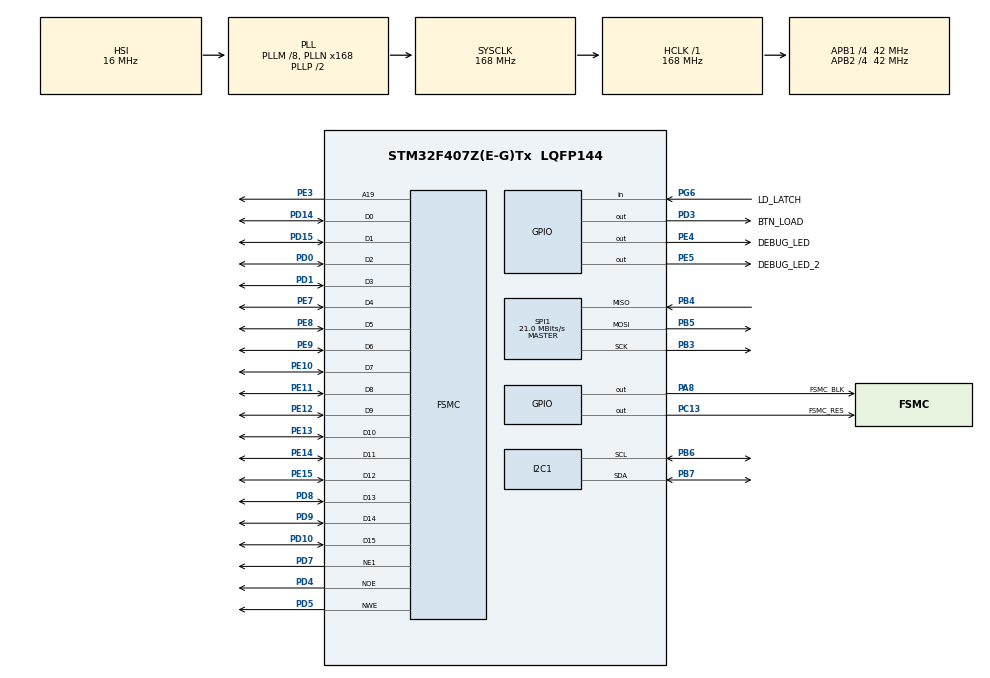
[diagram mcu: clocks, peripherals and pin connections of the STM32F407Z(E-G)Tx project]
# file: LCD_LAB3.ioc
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FSMC.AddressSetupTime1=0xf
FSMC.BusTurnAroundDuration1=0
FSMC.DataSetupTime1=60
FSMC.ExtendedAddressSetupTime1=8
FSMC.ExtendedBusTurnAroundDuration1=0
FSMC.ExtendedDataSetupTime1=9
FSMC.ExtendedMode1=FSMC_EXTENDED_MODE_ENABLE
Mcu.Family=STM32F4
Mcu.Name=STM32F407Z(E-G)Tx
Mcu.Package=LQFP144
NVIC.PriorityGroup=NVIC_PRIORITYGROUP_4
NVIC.TIM2_IRQn=true\:0\:0\:false\:false\:true\:true\:true
PA13.Mode=Serial_Wire
PA13.Signal=SYS_JTMS-SWDIO
PA14.Mode=Serial_Wire
PA14.Signal=SYS_JTCK-SWCLK
PA8.GPIO_Label=FSMC_BLK
PA8.Signal=GPIO_Output
PB3.Mode=Full_Duplex_Master
PB3.Signal=SPI1_SCK
PB4.Mode=Full_Duplex_Master
PB4.Signal=SPI1_MISO
PB5.Mode=Full_Duplex_Master
PB5.Signal=SPI1_MOSI
PB6.Mode=I2C
PB6.Signal=I2C1_SCL
PB7.Mode=I2C
PB7.Signal=I2C1_SDA
PC13-ANTI_TAMP.GPIO_Label=FSMC_RES
PC13-ANTI_TAMP.Signal=GPIO_Output
PD0.Signal=FSMC_D2_DA2
PD1.Signal=FSMC_D3_DA3
PD10.Signal=FSMC_D15_DA15
PD14.Signal=FSMC_D0_DA0
PD15.Signal=FSMC_D1_DA1
PD3.GPIO_Label=BTN_LOAD
PD3.Signal=GPIO_Output
PD4.Signal=FSMC_NOE
PD5.Signal=FSMC_NWE
PD7.Mode=NorPsramChipSelect1_1
PD7.Signal=FSMC_NE1
PD8.Signal=FSMC_D13_DA13
PD9.Signal=FSMC_D14_DA14
PE10.Signal=FSMC_D7_DA7
PE11.Signal=FSMC_D8_DA8
PE12.Signal=FSMC_D9_DA9
PE13.Signal=FSMC_D10_DA10
PE14.Signal=FSMC_D11_DA11
PE15.Signal=FSMC_D12_DA12
PE3.Signal=FSMC_A19
PE4.GPIO_Label=DEBUG_LED
PE4.Signal=GPIO_Output
PE5.GPIO_Label=DEBUG_LED_2
PE5.Signal=GPIO_Output
PE7.Signal=FSMC_D4_DA4
PE8.Signal=FSMC_D5_DA5
PE9.Signal=FSMC_D6_DA6
PG6.GPIO_Label=LD_LATCH
PG6.Signal=GPIO_Input
PH0-OSC_IN.Mode=HSE-External-Oscillator
PH0-OSC_IN.Signal=RCC_OSC_IN
PH1-OSC_OUT.Mode=HSE-External-Oscillator
PH1-OSC_OUT.Signal=RCC_OSC_OUT
ProjectManager.HeapSize=0x200
ProjectManager.StackSize=0x400
ProjectManager.TargetToolchain=STM32CubeIDE
RCC.48MHZClocksFreq_Value=84000000
RCC.AHBFreq_Value=168000000
RCC.APB1CLKDivider=RCC_HCLK_DIV4
RCC.APB1Freq_Value=42000000
RCC.APB1TimFreq_Value=84000000
RCC.APB2CLKDivider=RCC_HCLK_DIV4
RCC.APB2Freq_Value=42000000
RCC.APB2TimFreq_Value=84000000
RCC.CortexFreq_Value=168000000
RCC.HCLKFreq_Value=168000000
RCC.HSE_VALUE=8000000
RCC.HSI_VALUE=16000000
RCC.LSE_VALUE=32768
RCC.PLLM=8
RCC.PLLN=168
RCC.SYSCLKFreq_VALUE=168000000
RCC.SYSCLKSource=RCC_SYSCLKSOURCE_PLLCLK
RCC.VCOOutputFreq_Value=336000000
SH.FSMC_A19.0=FSMC_A19,A19_1
SH.FSMC_D0_DA0.0=FSMC_D0,16b-d1
SH.FSMC_D10_DA10.0=FSMC_D10,16b-d1
SH.FSMC_D11_DA11.0=FSMC_D11,16b-d1
SH.FSMC_D12_DA12.0=FSMC_D12,16b-d1
SH.FSMC_D13_DA13.0=FSMC_D13,16b-d1
SH.FSMC_D14_DA14.0=FSMC_D14,16b-d1
SH.FSMC_D15_DA15.0=FSMC_D15,16b-d1
SH.FSMC_D1_DA1.0=FSMC_D1,16b-d1
SH.FSMC_D2_DA2.0=FSMC_D2,16b-d1
SH.FSMC_D3_DA3.0=FSMC_D3,16b-d1
SH.FSMC_D4_DA4.0=FSMC_D4,16b-d1
SH.FSMC_D5_DA5.0=FSMC_D5,16b-d1
SH.FSMC_D6_DA6.0=FSMC_D6,16b-d1
SH.FSMC_D7_DA7.0=FSMC_D7,16b-d1
SH.FSMC_D8_DA8.0=FSMC_D8,16b-d1
SH.FSMC_D9_DA9.0=FSMC_D9,16b-d1
SH.FSMC_NOE.0=FSMC_NOE,Lcd1
SH.FSMC_NWE.0=FSMC_NWE,Lcd1
SPI1.CalculateBaudRate=21.0 MBits/s
SPI1.Direction=SPI_DIRECTION_2LINES
SPI1.Mode=SPI_MODE_MASTER
SPI1.VirtualType=VM_MASTER
TIM2.Period=100-1
TIM2.Prescaler=840-1
VP_TIM2_VS_ClockSourceINT.Mode=Internal
board=custom

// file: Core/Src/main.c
/* USER CODE BEGIN Header */
/**
 ******************************************************************************
 * @file           : main.c
 * @brief          : Main program body
 ******************************************************************************
 * @attention
 *
 * <h2><center>&copy; Copyright (c) 2023 STMicroelectronics.
 * All rights reserved.</center></h2>
 *
 * This software component is licensed by ST under BSD 3-Clause license,
 * the "License"; You may not use this file except in compliance with the
 * License. You may obtain a copy of the License at:
 *                        opensource.org/licenses/BSD-3-Clause
 *
 ******************************************************************************
 */
/* USER CODE END Header */
#include "main.h"
#include "i2c.h"
#include "spi.h"
#include "tim.h"
#include "gpio.h"
#include "fsmc.h"

/* USER CODE BEGIN Includes */
#include "software_timer.h"
#include "led_7seg.h"
#include "button.h"
#include "lcd.h"
#include "picture.h"
#include "ds3231.h"
#include "rtc.h"
/* USER CODE END Includes */

/* USER CODE BEGIN PV */
uint8_t count_led_debug = 0;
/* USER CODE END PV */

void SystemClock_Config(void);
/* USER CODE BEGIN PFP */
void system_init();
void test_LedDebug();
void displayTime();
void updateTime();
/* USER CODE END PFP */

int main(void) {

	/* MCU Configuration--------------------------------------------------------*/

	/* Reset of all peripherals, Initializes the Flash interface and the Systick. */
	HAL_Init();

	/* Configure the system clock */
	SystemClock_Config();

	/* Initialize all configured peripherals */
	MX_GPIO_Init();
	MX_TIM2_Init();
	MX_SPI1_Init();
	MX_FSMC_Init();
	MX_I2C1_Init();
	/* USER CODE BEGIN 2 */
	system_init();
	/* USER CODE END 2 */

	/* Infinite loop */
	/* USER CODE BEGIN WHILE */
	lcd_Clear(BLACK);
	updateCurrent(23, 11, 23, 5, 8, 0, 0);
	setTimer1(1000);
	int tmpValue = 0;
	while (1) {
		while (!flag_timer2)
			;
		flag_timer2 = 0;
		button_Scan();

		// mode
		if(button_count[11] == 2){
			if(tmpValue != 0){
				// if change mode while modifying => remove temp value
				if(CURRENT_MODIFIER == 1){
					tmpValue = 0;
					CURRENT_HOUR -= tmpValue;
				}
				if(CURRENT_MODIFIER == 2){
					tmpValue = 0;
					CURRENT_MINUTE -= tmpValue;
				}
				if(CURRENT_MODIFIER == 3){
					tmpValue = 0;
					CURRENT_SEC -= tmpValue;
				}
				if(CURRENT_MODIFIER == 4){
					tmpValue = 0;
					CURRENT_DATE -= tmpValue;
				}
				if(CURRENT_MODIFIER == 5){
					tmpValue = 0;
					CURRENT_MONTH -= tmpValue;
				}
				if(CURRENT_MODIFIER == 6){
					tmpValue = 0;
					CURRENT_YEAR -= tmpValue;
				}
			}
			CURRENT_MODE++;
			if(CURRENT_MODE > 2){
				CURRENT_MODE = 0;
			}
		}
		//tang gia tri
		if(button_count[0] == 2){
			if(CURRENT_MODIFIER == 1){
				tmpValue++;
				CURRENT_HOUR++;
			}
			if(CURRENT_MODIFIER == 2){
				tmpValue++;
				CURRENT_MINUTE++;
			}
			if(CURRENT_MODIFIER == 3){
				tmpValue++;
				CURRENT_SEC++;
			}
			if(CURRENT_MODIFIER == 4){
				tmpValue++;
				CURRENT_DATE++;
			}
			if(CURRENT_MODIFIER == 5){
				tmpValue++;
				CURRENT_MONTH++;
			}
			if(CURRENT_MODIFIER == 6){
				tmpValue++;
				CURRENT_YEAR++;
			}
		}
		//save
		if(button_count[3] == 2){
			CURRENT_MODIFIER++;
			tmpValue = 0;
			if (CURRENT_MODIFIER >= 6){
				CURRENT_MODIFIER = 1;
			}
		}
		TimerStateMachine();
		displayCurrentMode();

		/* USER CODE END WHILE */

	}
}

void SystemClock_Config(void) {
	RCC_OscInitTypeDef RCC_OscInitStruct = { 0 };
	RCC_ClkInitTypeDef RCC_ClkInitStruct = { 0 };

	/** Configure the main internal regulator output voltage
	 */
	__HAL_RCC_PWR_CLK_ENABLE();
	__HAL_PWR_VOLTAGESCALING_CONFIG(PWR_REGULATOR_VOLTAGE_SCALE1);
	/** Initializes the RCC Oscillators according to the specified parameters
	 * in the RCC_OscInitTypeDef structure.
	 */
	RCC_OscInitStruct.OscillatorType = RCC_OSCILLATORTYPE_HSI;
	RCC_OscInitStruct.HSIState = RCC_HSI_ON;
	RCC_OscInitStruct.HSICalibrationValue = RCC_HSICALIBRATION_DEFAULT;
	RCC_OscInitStruct.PLL.PLLState = RCC_PLL_ON;
	RCC_OscInitStruct.PLL.PLLSource = RCC_PLLSOURCE_HSI;
	RCC_OscInitStruct.PLL.PLLM = 8;
	RCC_OscInitStruct.PLL.PLLN = 168;
	RCC_OscInitStruct.PLL.PLLP = RCC_PLLP_DIV2;
	RCC_OscInitStruct.PLL.PLLQ = 4;
	if (HAL_RCC_OscConfig(&RCC_OscInitStruct) != HAL_OK) {
		Error_Handler();
	}
	/** Initializes the CPU, AHB and APB buses clocks
	 */
	RCC_ClkInitStruct.ClockType = RCC_CLOCKTYPE_HCLK | RCC_CLOCKTYPE_SYSCLK
			| RCC_CLOCKTYPE_PCLK1 | RCC_CLOCKTYPE_PCLK2;
	RCC_ClkInitStruct.SYSCLKSource = RCC_SYSCLKSOURCE_PLLCLK;
	RCC_ClkInitStruct.AHBCLKDivider = RCC_SYSCLK_DIV1;
	RCC_ClkInitStruct.APB1CLKDivider = RCC_HCLK_DIV4;
	RCC_ClkInitStruct.APB2CLKDivider = RCC_HCLK_DIV4;

	if (HAL_RCC_ClockConfig(&RCC_ClkInitStruct, FLASH_LATENCY_5) != HAL_OK) {
		Error_Handler();
	}
}

/* USER CODE BEGIN 4 */
void system_init() {
//	HAL_GPIO_WritePin(OUTPUT_Y0_GPIO_Port, OUTPUT_Y0_Pin, 0);
//	HAL_GPIO_WritePin(OUTPUT_Y1_GPIO_Port, OUTPUT_Y1_Pin, 0);
	HAL_GPIO_WritePin(DEBUG_LED_GPIO_Port, DEBUG_LED_Pin, 0);
	timer_init();
	led7_init();
	button_init();
	lcd_init();
	ds3231_init();
	setTimer2(50);
}

void test_LedDebug() {
	count_led_debug = (count_led_debug + 1) % 20;
	if (count_led_debug == 0) {
		HAL_GPIO_TogglePin(DEBUG_LED_GPIO_Port, DEBUG_LED_Pin);
	}
}

void test_7seg() {
	led7_SetDigit(0, 0, 0);
	led7_SetDigit(5, 1, 0);
	led7_SetDigit(4, 2, 0);
	led7_SetDigit(7, 3, 0);
}
void test_button() {
	for (int i = 0; i < 16; i++) {
		if (button_count[i] == 1) {
			led7_SetDigit(i / 10, 2, 0);
			led7_SetDigit(i % 10, 3, 0);
		}
	}
}

uint8_t isButtonUp() {
	if (button_count[3] == 1){
		return 1;
	}
	else
		return 0;
}
uint8_t isButtonDown() {
	if (button_count[7] == 1)
		return 1;
	else
		return 0;
}

/* USER CODE END 4 */

void Error_Handler(void) {
	__disable_irq();
	while (1) {
	}
}

/************************ (C) COPYRIGHT STMicroelectronics *****END OF FILE****/
